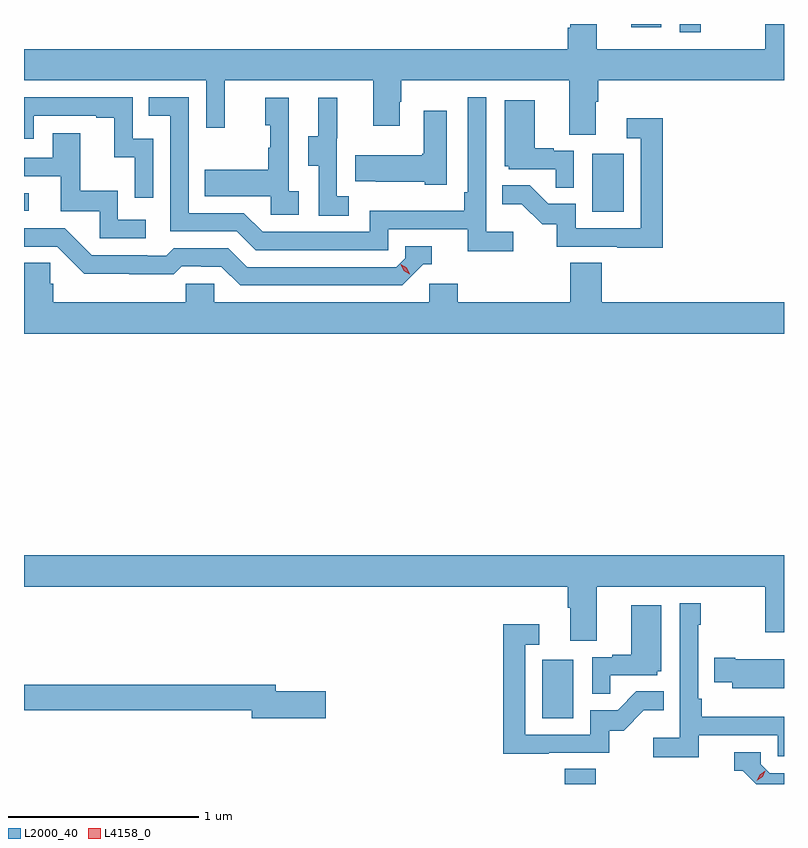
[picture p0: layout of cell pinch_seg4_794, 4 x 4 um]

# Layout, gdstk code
import gdstk
lib = gdstk.Library(unit=1e-6, precision=1e-09)
def R(c, l, rs):  # rectangles x0, y0, x1, y1
    for r in rs: c.add(gdstk.rectangle(r[:2], r[2:], *l))
def P(c, l, *ps):  # polygons
    for p in ps: c.add(gdstk.Polygon(p, *l))
L2000_40 = (2000, 40)
L4158_0 = (4158, 0)

pinch_seg4_794 = lib.new_cell('pinch_seg4_794')
R(pinch_seg4_794, L2000_40, [(805.241,821.089,805.406,821.168), (805.124,821.436,805.288,821.743), (805.388,824.1,805.552,824.407), (802.396,824.106,802.42,824.199), (805.848,825.045,805.957,825.089), (805.592,825.072,805.75,825.089)])
P(pinch_seg4_794, L2000_40, [(805.405,824.68),(805.418,824.68),(805.418,824.792),(806.396,824.792),(806.396,825.089),(806.296,825.089),(806.296,824.956),(805.411,824.956),(805.411,825.089),(805.271,825.089),(805.271,825.068),(805.259,825.068),(805.259,824.956),(802.396,824.956),(802.396,824.792),(803.355,824.792),(803.355,824.544),(803.453,824.544),(803.453,824.792),(804.233,824.792),(804.233,824.553),(804.373,824.553),(804.373,824.681),(804.381,824.681),(804.381,824.792),(805.265,824.792),(805.265,824.506),(805.405,824.506)],
  [(804.97,823.996),(804.828,823.996),(804.828,824.704),(804.732,824.704),(804.732,824.203),(804.712,824.203),(804.712,824.107),(804.216,824.107),(804.216,823.995),(803.652,823.995),(803.553,824.094),(803.262,824.094),(803.262,824.703),(803.053,824.703),(803.053,824.607),(803.166,824.607),(803.166,823.998),(803.516,823.998),(803.615,823.899),(804.312,823.899),(804.312,824.01),(804.731,824.01),(804.731,823.894),(804.97,823.894)],
  [(803.076,824.484),(802.968,824.484),(802.968,824.703),(802.396,824.703),(802.396,824.484),(802.446,824.484),(802.446,824.607),(802.775,824.607),(802.775,824.595),(802.871,824.595),(802.871,824.387),(802.98,824.387),(802.98,824.175),(803.076,824.175)],
  [(804.106,824.183),(804.042,824.183),(804.042,824.487),(804.044,824.487),(804.044,824.701),(803.945,824.701),(803.945,824.499),(803.891,824.499),(803.891,824.344),(803.946,824.344),(803.946,824.08),(804.106,824.08)],
  [(803.842,824.21),(803.79,824.21),(803.79,824.701),(803.666,824.701),(803.666,824.556),(803.692,824.556),(803.692,824.438),(803.682,824.438),(803.682,824.323),(803.347,824.323),(803.347,824.183),(803.694,824.183),(803.694,824.085),(803.842,824.085)],
  [(805.29,824.421),(805.184,824.421),(805.184,824.434),(805.084,824.434),(805.084,824.689),(804.926,824.689),(804.926,824.34),(804.948,824.34),(804.948,824.325),(805.195,824.325),(805.195,824.227),(805.29,824.227)],
  [(804.622,824.632),(804.5,824.632),(804.5,824.406),(804.493,824.406),(804.493,824.398),(804.139,824.398),(804.139,824.261),(804.247,824.261),(804.247,824.258),(804.504,824.258),(804.504,824.243),(804.622,824.243)],
  [(805.757,824.593),(805.569,824.593),(805.569,824.487),(805.641,824.487),(805.641,824.013),(805.299,824.013),(805.299,824.142),(805.155,824.142),(805.057,824.24),(804.913,824.24),(804.913,824.141),(805.017,824.141),(805.124,824.034),(805.201,824.034),(805.201,823.917),(805.519,823.917),(805.519,823.912),(805.757,823.912)],
  [(803.038,824.058),(802.89,824.058),(802.89,824.212),(802.691,824.212),(802.691,824.515),(802.547,824.515),(802.547,824.385),(802.396,824.385),(802.396,824.289),(802.589,824.289),(802.589,824.103),(802.794,824.103),(802.794,823.962),(803.038,823.962)],
  [(804.498,823.824),(804.541,823.824),(804.541,823.92),(804.402,823.92),(804.402,823.857),(804.354,823.809),(803.571,823.809),(803.472,823.908),(803.183,823.908),(803.144,823.869),(803.045,823.869),(803.045,823.872),(802.752,823.872),(802.611,824.013),(802.396,824.013),(802.396,823.917),(802.572,823.917),(802.714,823.775),(802.95,823.775),(802.95,823.773),(803.183,823.773),(803.225,823.815),(803.328,823.815),(803.328,823.812),(803.435,823.812),(803.534,823.713),(804.387,823.713)],
  [(806.396,823.624),(805.436,823.624),(805.436,823.832),(805.271,823.832),(805.271,823.624),(804.68,823.624),(804.68,823.722),(804.528,823.722),(804.528,823.624),(803.397,823.624),(803.397,823.722),(803.247,823.722),(803.247,823.624),(802.55,823.624),(802.55,823.722),(802.535,823.722),(802.535,823.832),(802.398,823.832),(802.398,823.624),(802.396,823.624),(802.396,823.46),(806.396,823.46)],
  [(805.411,822.128),(806.296,822.128),(806.296,821.889),(806.396,821.889),(806.396,822.292),(802.396,822.292),(802.396,822.128),(805.259,822.128),(805.259,822.016),(805.271,822.016),(805.271,821.842),(805.411,821.842)],
  [(805.946,821.346),(806.364,821.346),(806.364,821.235),(806.396,821.235),(806.396,821.443),(805.964,821.443),(805.964,821.539),(805.944,821.539),(805.944,821.927),(805.957,821.927),(805.957,822.04),(805.848,822.04),(805.848,821.332),(805.707,821.332),(805.707,821.23),(805.946,821.23)],
  [(805.481,821.661),(805.728,821.661),(805.728,821.682),(805.75,821.682),(805.75,822.031),(805.592,822.031),(805.592,821.77),(805.493,821.77),(805.493,821.757),(805.386,821.757),(805.386,821.563),(805.481,821.563)],
  [(805.157,821.253),(805.476,821.253),(805.476,821.37),(805.552,821.37),(805.659,821.477),(805.763,821.477),(805.763,821.576),(805.619,821.576),(805.521,821.478),(805.377,821.478),(805.377,821.349),(805.035,821.349),(805.035,821.823),(805.108,821.823),(805.108,821.929),(804.919,821.929),(804.919,821.248),(805.157,821.248)],
  [(806.396,821.746),(806.14,821.746),(806.14,821.754),(806.029,821.754),(806.029,821.624),(806.123,821.624),(806.123,821.594),(806.396,821.594)],
  [(803.983,821.576),(803.722,821.576),(803.722,821.612),(802.396,821.612),(802.396,821.476),(803.594,821.476),(803.594,821.434),(803.983,821.434)],
  [(806.396,821.145),(806.322,821.145),(806.274,821.193),(806.274,821.256),(806.135,821.256),(806.135,821.16),(806.178,821.16),(806.249,821.089),(806.396,821.089)])
P(pinch_seg4_794, L4158_0, [(806.252,821.106),(806.252,821.106),(806.268,821.139),(806.298,821.159),(806.298,821.159),(806.298,821.159),(806.283,821.126),(806.252,821.106)],
  [(804.426,823.772),(804.395,823.791),(804.379,823.824),(804.379,823.824),(804.379,823.824),(804.41,823.805),(804.426,823.772),(804.426,823.772)])

lib.write_gds('pinch_seg4_794.gds')
